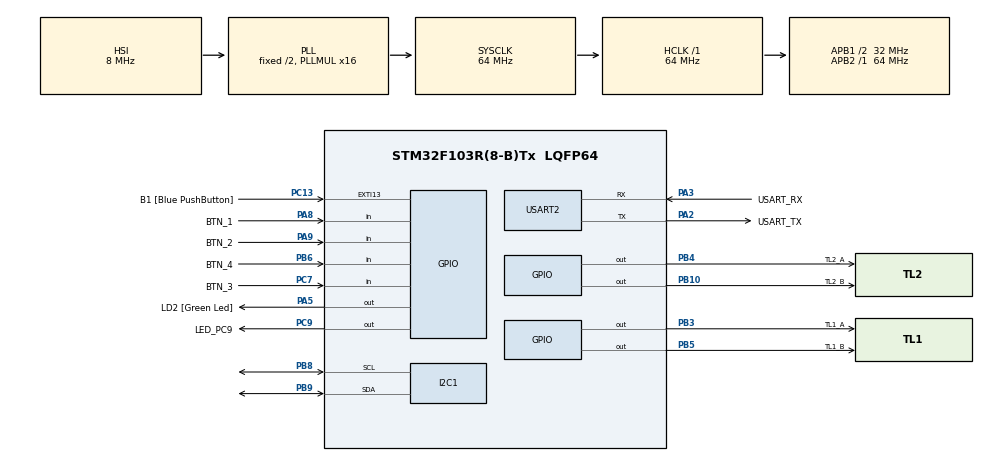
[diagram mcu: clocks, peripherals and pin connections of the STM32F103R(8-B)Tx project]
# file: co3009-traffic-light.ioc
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Mcu.Family=STM32F1
Mcu.Name=STM32F103R(8-B)Tx
Mcu.Package=LQFP64
NVIC.EXTI15_10_IRQn=true\:0\:0\:false\:false\:true\:true\:true
NVIC.PriorityGroup=NVIC_PRIORITYGROUP_4
NVIC.TIM2_IRQn=true\:0\:0\:false\:false\:true\:true\:true
PA13.GPIO_Label=TMS
PA13.Mode=Serial_Wire
PA13.Signal=SYS_JTMS-SWDIO
PA14.GPIO_Label=TCK
PA14.Mode=Serial_Wire
PA14.Signal=SYS_JTCK-SWCLK
PA2.GPIO_Label=USART_TX
PA2.GPIO_Mode=GPIO_MODE_AF_PP
PA2.GPIO_PuPd=GPIO_NOPULL
PA2.GPIO_Speed=GPIO_SPEED_FREQ_LOW
PA2.Mode=Asynchronous
PA2.Signal=USART2_TX
PA3.GPIO_Label=USART_RX
PA3.GPIO_Mode=GPIO_MODE_AF_PP
PA3.GPIO_PuPd=GPIO_NOPULL
PA3.GPIO_Speed=GPIO_SPEED_FREQ_LOW
PA3.Mode=Asynchronous
PA3.Signal=USART2_RX
PA5.GPIO_Label=LD2 [Green Led]
PA5.GPIO_ModeDefaultOutputPP=GPIO_MODE_OUTPUT_PP
PA5.GPIO_PuPd=GPIO_NOPULL
PA5.GPIO_Speed=GPIO_SPEED_FREQ_LOW
PA5.Signal=GPIO_Output
PA8.GPIO_Label=BTN_1
PA8.Signal=GPIO_Input
PA9.GPIO_Label=BTN_2
PA9.Signal=GPIO_Input
PB10.GPIO_Label=TL2_B
PB10.Signal=GPIO_Output
PB3.GPIO_Label=TL1_A
PB3.Signal=GPIO_Output
PB4.GPIO_Label=TL2_A
PB4.Signal=GPIO_Output
PB5.GPIO_Label=TL1_B
PB5.Signal=GPIO_Output
PB6.GPIO_Label=BTN_4
PB6.Signal=GPIO_Input
PB8.Mode=I2C
PB8.Signal=I2C1_SCL
PB9.Mode=I2C
PB9.Signal=I2C1_SDA
PC13-TAMPER-RTC.GPIO_Label=B1 [Blue PushButton]
PC13-TAMPER-RTC.GPIO_PuPd=GPIO_NOPULL
PC13-TAMPER-RTC.Signal=GPXTI13
PC14-OSC32_IN.Mode=LSE-External-Oscillator
PC14-OSC32_IN.Signal=RCC_OSC32_IN
PC15-OSC32_OUT.Mode=LSE-External-Oscillator
PC15-OSC32_OUT.Signal=RCC_OSC32_OUT
PC7.GPIO_Label=BTN_3
PC7.Signal=GPIO_Input
PC9.GPIO_Label=LED_PC9
PC9.Signal=GPIO_Output
PD0-OSC_IN.Mode=HSE-External-Clock-Source
PD0-OSC_IN.Signal=RCC_OSC_IN
PD1-OSC_OUT.Mode=HSE-External-Clock-Source
PD1-OSC_OUT.Signal=RCC_OSC_OUT
ProjectManager.HeapSize=0x200
ProjectManager.StackSize=0x400
ProjectManager.TargetToolchain=STM32CubeIDE
RCC.AHBFreq_Value=64000000
RCC.APB1CLKDivider=RCC_HCLK_DIV2
RCC.APB1Freq_Value=32000000
RCC.APB1TimFreq_Value=64000000
RCC.APB2Freq_Value=64000000
RCC.APB2TimFreq_Value=64000000
RCC.HCLKFreq_Value=64000000
RCC.PLLMUL=RCC_PLL_MUL16
RCC.RTCClockSelection=RCC_RTCCLKSOURCE_LSE
RCC.SYSCLKFreq_VALUE=64000000
RCC.SYSCLKSource=RCC_SYSCLKSOURCE_PLLCLK
RCC.USBFreq_Value=64000000
TIM2.AutoReloadPreload=TIM_AUTORELOAD_PRELOAD_ENABLE
TIM2.Period=99
TIM2.Prescaler=6399
USART2.VirtualMode=VM_ASYNC
VP_TIM2_VS_ClockSourceINT.Mode=Internal
board=NUCLEO-F103RB

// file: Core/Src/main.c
/* USER CODE BEGIN Header */
/**
  ******************************************************************************
  * @file           : main.c
  * @brief          : Main program body
  ******************************************************************************
  * @attention
  *
  * <h2><center>&copy; Copyright (c) 2026 STMicroelectronics.
  * All rights reserved.</center></h2>
  *
  * This software component is licensed by ST under BSD 3-Clause license,
  * the "License"; You may not use this file except in compliance with the
  * License. You may obtain a copy of the License at:
  *                        opensource.org/licenses/BSD-3-Clause
  *
  ******************************************************************************
  */
/* USER CODE END Header */
#include "main.h"

/* USER CODE BEGIN Includes */
#include "global.h"
#include "scheduler.h"
#include "software_timer.h"
#include "button.h"
#include "traffic_light.h"
#include "lcd.h"
#include "dht20.h"
#include "fsm_main.h"
/* USER CODE END Includes */

I2C_HandleTypeDef hi2c1;

TIM_HandleTypeDef htim2;

UART_HandleTypeDef huart2;

void SystemClock_Config(void);
static void MX_GPIO_Init(void);
static void MX_USART2_UART_Init(void);
static void MX_I2C1_Init(void);
static void MX_TIM2_Init(void);
/* USER CODE BEGIN PFP */
static void heartbeat_task(void);
/* >>> TEST TAM THOI - XOA SAU KHI TEST XONG (1/2) <<< */
void hw_test_run(void);      /* dinh nghia trong hw_test.c */
/* >>> HET PHAN TEST (1/2) <<< */
/* USER CODE END PFP */

int main(void)
{

  /* MCU Configuration--------------------------------------------------------*/

  /* Reset of all peripherals, Initializes the Flash interface and the Systick. */
  HAL_Init();

  /* Configure the system clock */
  SystemClock_Config();

  /* Initialize all configured peripherals */
  MX_GPIO_Init();
  MX_USART2_UART_Init();
  MX_I2C1_Init();
  MX_TIM2_Init();
  /* USER CODE BEGIN 2 */
  /* >>> TEST TAM THOI - XOA SAU KHI TEST XONG (2/2) <<<
   * Chon bai test bang #define HW_TEST trong hw_test.c:
   *   1 = mau den | 2 = nut nhan | 3 = I2C scan | 4 = LCD
   * Muon chay chuong trinh chinh: XOA hoac comment dong duoi. */
  hw_test_run();
  /* >>> HET PHAN TEST (2/2) <<< */

  global_init();
  traffic_init();
  button_init();
  lcd_init();
  dht20_init();
  fsm_main_init();

  SCH_Init();
  SCH_Add_Task(timer_run,       0, 1);                  /* 10 ms  */
  SCH_Add_Task(button_scan,     0, 1);                  /* 10 ms  */
  SCH_Add_Task(fsm_main_run,    1, FSM_PERIOD_TICKS);   /* 50 ms  */
  SCH_Add_Task(dht20_task,     50, 200);                /* 2 s    */
  SCH_Add_Task(heartbeat_task,  0, 50);                 /* 500 ms */
  HAL_TIM_Base_Start_IT(&htim2);
  /* USER CODE END 2 */

  /* Infinite loop */
  while (1)
  {

    /* USER CODE BEGIN 3 */
    SCH_Dispatch_Tasks();
  }
  /* USER CODE END 3 */
}

void SystemClock_Config(void)
{
  RCC_OscInitTypeDef RCC_OscInitStruct = {0};
  RCC_ClkInitTypeDef RCC_ClkInitStruct = {0};

  /** Initializes the RCC Oscillators according to the specified parameters
  * in the RCC_OscInitTypeDef structure.
  */
  RCC_OscInitStruct.OscillatorType = RCC_OSCILLATORTYPE_HSI;
  RCC_OscInitStruct.HSIState = RCC_HSI_ON;
  RCC_OscInitStruct.HSICalibrationValue = RCC_HSICALIBRATION_DEFAULT;
  RCC_OscInitStruct.PLL.PLLState = RCC_PLL_ON;
  RCC_OscInitStruct.PLL.PLLSource = RCC_PLLSOURCE_HSI_DIV2;
  RCC_OscInitStruct.PLL.PLLMUL = RCC_PLL_MUL16;
  if (HAL_RCC_OscConfig(&RCC_OscInitStruct) != HAL_OK)
  {
    Error_Handler();
  }
  /** Initializes the CPU, AHB and APB buses clocks
  */
  RCC_ClkInitStruct.ClockType = RCC_CLOCKTYPE_HCLK|RCC_CLOCKTYPE_SYSCLK
                              |RCC_CLOCKTYPE_PCLK1|RCC_CLOCKTYPE_PCLK2;
  RCC_ClkInitStruct.SYSCLKSource = RCC_SYSCLKSOURCE_PLLCLK;
  RCC_ClkInitStruct.AHBCLKDivider = RCC_SYSCLK_DIV1;
  RCC_ClkInitStruct.APB1CLKDivider = RCC_HCLK_DIV2;
  RCC_ClkInitStruct.APB2CLKDivider = RCC_HCLK_DIV1;

  if (HAL_RCC_ClockConfig(&RCC_ClkInitStruct, FLASH_LATENCY_2) != HAL_OK)
  {
    Error_Handler();
  }
}

static void MX_I2C1_Init(void)
{

  hi2c1.Instance = I2C1;
  hi2c1.Init.ClockSpeed = 100000;
  hi2c1.Init.DutyCycle = I2C_DUTYCYCLE_2;
  hi2c1.Init.OwnAddress1 = 0;
  hi2c1.Init.AddressingMode = I2C_ADDRESSINGMODE_7BIT;
  hi2c1.Init.DualAddressMode = I2C_DUALADDRESS_DISABLE;
  hi2c1.Init.OwnAddress2 = 0;
  hi2c1.Init.GeneralCallMode = I2C_GENERALCALL_DISABLE;
  hi2c1.Init.NoStretchMode = I2C_NOSTRETCH_DISABLE;
  if (HAL_I2C_Init(&hi2c1) != HAL_OK)
  {
    Error_Handler();
  }

}

static void MX_TIM2_Init(void)
{

  TIM_ClockConfigTypeDef sClockSourceConfig = {0};
  TIM_MasterConfigTypeDef sMasterConfig = {0};

  htim2.Instance = TIM2;
  htim2.Init.Prescaler = 6399;
  htim2.Init.CounterMode = TIM_COUNTERMODE_UP;
  htim2.Init.Period = 99;
  htim2.Init.ClockDivision = TIM_CLOCKDIVISION_DIV1;
  htim2.Init.AutoReloadPreload = TIM_AUTORELOAD_PRELOAD_ENABLE;
  if (HAL_TIM_Base_Init(&htim2) != HAL_OK)
  {
    Error_Handler();
  }
  sClockSourceConfig.ClockSource = TIM_CLOCKSOURCE_INTERNAL;
  if (HAL_TIM_ConfigClockSource(&htim2, &sClockSourceConfig) != HAL_OK)
  {
    Error_Handler();
  }
  sMasterConfig.MasterOutputTrigger = TIM_TRGO_RESET;
  sMasterConfig.MasterSlaveMode = TIM_MASTERSLAVEMODE_DISABLE;
  if (HAL_TIMEx_MasterConfigSynchronization(&htim2, &sMasterConfig) != HAL_OK)
  {
    Error_Handler();
  }

}

static void MX_USART2_UART_Init(void)
{

  huart2.Instance = USART2;
  huart2.Init.BaudRate = 115200;
  huart2.Init.WordLength = UART_WORDLENGTH_8B;
  huart2.Init.StopBits = UART_STOPBITS_1;
  huart2.Init.Parity = UART_PARITY_NONE;
  huart2.Init.Mode = UART_MODE_TX_RX;
  huart2.Init.HwFlowCtl = UART_HWCONTROL_NONE;
  huart2.Init.OverSampling = UART_OVERSAMPLING_16;
  if (HAL_UART_Init(&huart2) != HAL_OK)
  {
    Error_Handler();
  }

}

static void MX_GPIO_Init(void)
{
  GPIO_InitTypeDef GPIO_InitStruct = {0};

  /* GPIO Ports Clock Enable */
  __HAL_RCC_GPIOC_CLK_ENABLE();
  __HAL_RCC_GPIOD_CLK_ENABLE();
  __HAL_RCC_GPIOA_CLK_ENABLE();
  __HAL_RCC_GPIOB_CLK_ENABLE();

  /*Configure GPIO pin Output Level */
  HAL_GPIO_WritePin(LD2_GPIO_Port, LD2_Pin, GPIO_PIN_RESET);

  /*Configure GPIO pin Output Level */
  HAL_GPIO_WritePin(GPIOB, TL2_B_Pin|TL1_A_Pin|TL2_A_Pin|TL1_B_Pin, GPIO_PIN_RESET);

  /*Configure GPIO pin Output Level */
  HAL_GPIO_WritePin(LED_PC9_GPIO_Port, LED_PC9_Pin, GPIO_PIN_RESET);

  /*Configure GPIO pin : B1_Pin */
  GPIO_InitStruct.Pin = B1_Pin;
  GPIO_InitStruct.Mode = GPIO_MODE_IT_RISING;
  GPIO_InitStruct.Pull = GPIO_NOPULL;
  HAL_GPIO_Init(B1_GPIO_Port, &GPIO_InitStruct);

  /*Configure GPIO pin : LD2_Pin */
  GPIO_InitStruct.Pin = LD2_Pin;
  GPIO_InitStruct.Mode = GPIO_MODE_OUTPUT_PP;
  GPIO_InitStruct.Pull = GPIO_NOPULL;
  GPIO_InitStruct.Speed = GPIO_SPEED_FREQ_LOW;
  HAL_GPIO_Init(LD2_GPIO_Port, &GPIO_InitStruct);

  /*Configure GPIO pins : TL2_B_Pin TL1_A_Pin TL2_A_Pin TL1_B_Pin */
  GPIO_InitStruct.Pin = TL2_B_Pin|TL1_A_Pin|TL2_A_Pin|TL1_B_Pin;
  GPIO_InitStruct.Mode = GPIO_MODE_OUTPUT_PP;
  GPIO_InitStruct.Pull = GPIO_NOPULL;
  GPIO_InitStruct.Speed = GPIO_SPEED_FREQ_LOW;
  HAL_GPIO_Init(GPIOB, &GPIO_InitStruct);

  /*Configure GPIO pin : BTN_3_Pin */
  GPIO_InitStruct.Pin = BTN_3_Pin;
  GPIO_InitStruct.Mode = GPIO_MODE_INPUT;
  GPIO_InitStruct.Pull = GPIO_NOPULL;
  HAL_GPIO_Init(BTN_3_GPIO_Port, &GPIO_InitStruct);

  /*Configure GPIO pin : LED_PC9_Pin */
  GPIO_InitStruct.Pin = LED_PC9_Pin;
  GPIO_InitStruct.Mode = GPIO_MODE_OUTPUT_PP;
  GPIO_InitStruct.Pull = GPIO_NOPULL;
  GPIO_InitStruct.Speed = GPIO_SPEED_FREQ_LOW;
  HAL_GPIO_Init(LED_PC9_GPIO_Port, &GPIO_InitStruct);

  /*Configure GPIO pins : BTN_1_Pin BTN_2_Pin */
  GPIO_InitStruct.Pin = BTN_1_Pin|BTN_2_Pin;
  GPIO_InitStruct.Mode = GPIO_MODE_INPUT;
  GPIO_InitStruct.Pull = GPIO_NOPULL;
  HAL_GPIO_Init(GPIOA, &GPIO_InitStruct);

  /*Configure GPIO pin : BTN_4_Pin */
  GPIO_InitStruct.Pin = BTN_4_Pin;
  GPIO_InitStruct.Mode = GPIO_MODE_INPUT;
  GPIO_InitStruct.Pull = GPIO_NOPULL;
  HAL_GPIO_Init(BTN_4_GPIO_Port, &GPIO_InitStruct);

  /* EXTI interrupt init*/
  HAL_NVIC_SetPriority(EXTI15_10_IRQn, 0, 0);
  HAL_NVIC_EnableIRQ(EXTI15_10_IRQn);

}

/* USER CODE BEGIN 4 */
void HAL_TIM_PeriodElapsedCallback(TIM_HandleTypeDef *htim)
{
  if (htim->Instance == TIM2) SCH_Update();
}

static void heartbeat_task(void)
{
  HAL_GPIO_TogglePin(LD2_GPIO_Port, LD2_Pin);
}
/* USER CODE END 4 */

void Error_Handler(void)
{
  __disable_irq();
  while (1)
  {
  }
}

/************************ (C) COPYRIGHT STMicroelectronics *****END OF FILE****/
